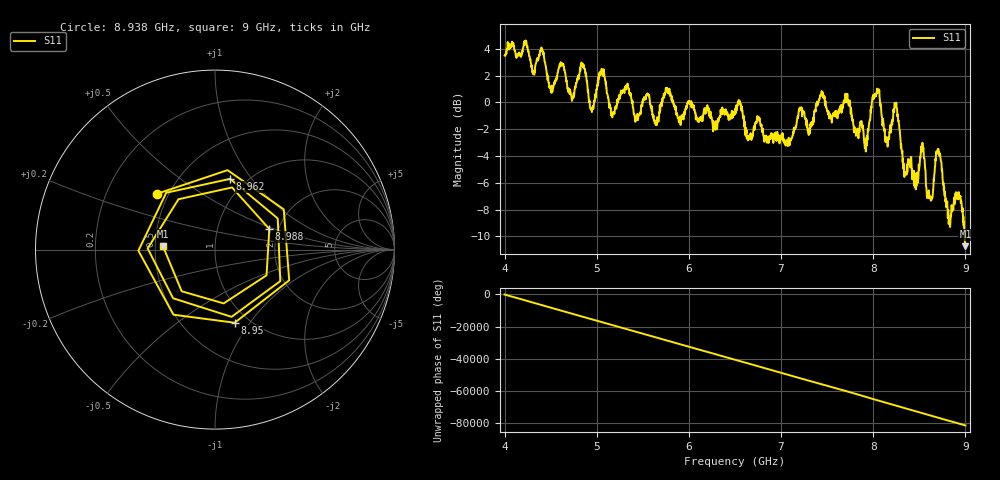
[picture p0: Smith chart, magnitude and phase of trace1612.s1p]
! Created with skrf 1.8.0 (http://scikit-rf.org).
# Hz S RI R 50.0
!freq ReS11 ImS11
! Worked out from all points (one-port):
!   1601 points, 4 GHz to 9 GHz, reference 50 ohm
!   lowest |S11| = -10.7 dB at 9 GHz (marker M1), VSWR 1.82, Z = 27.5 + j1.13 ohm
!   |S11| at or under -10 dB: 8.991794 GHz to end of sweep
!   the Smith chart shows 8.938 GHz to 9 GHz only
!   S11 on the Smith chart (normalised r, x): 8.938 GHz: 0.43, +0.34; 8.95 GHz: 0.86, -0.85; 8.962 GHz: 0.84, +0.79; 8.988 GHz: 1.79, +0.46; 9 GHz: 0.55, +0.02
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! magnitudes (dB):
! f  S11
! 4 GHz  3.5
! 4.509 GHz  0.7
! 4.625 GHz  2.9
! 4.731 GHz  0.1
! 4.853 GHz  2.6
! 4.944 GHz  -0.5
! 5.05 GHz  2.2
! 5.166 GHz  -1.1
! 5.25 GHz  0.6
! 5.875 GHz  -1.0
! 6.5 GHz  -0.5
! 7.125 GHz  -2.5
! 7.441 GHz  0.9
! 7.75 GHz  -0.3
! 7.916 GHz  -3.0
! 8.041 GHz  1.0
! 8.147 GHz  -2.9
! 8.244 GHz  -0.1
! 8.375 GHz  -4.5
! 8.534 GHz  -3.0
! 8.622 GHz  -7.1
! 8.706 GHz  -3.5
! 8.816 GHz  -8.0
! 8.938 GHz  -7.0
! 8.95 GHz  -7.5
! 8.962 GHz  -7.9
! 8.988 GHz  -9.8
! 9 GHz  -10.7
